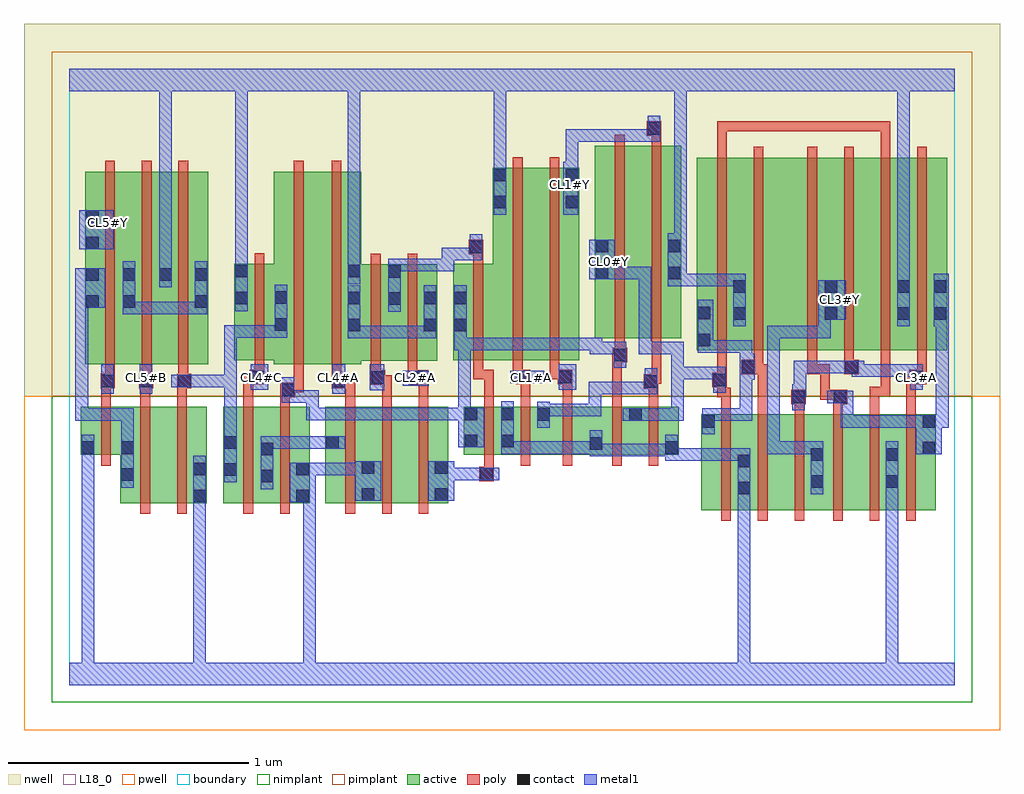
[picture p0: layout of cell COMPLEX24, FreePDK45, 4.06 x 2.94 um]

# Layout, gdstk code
import gdstk
lib = gdstk.Library(unit=1e-6, precision=1e-09)
def R(c, l, rs):  # rectangles x0, y0, x1, y1
    for r in rs: c.add(gdstk.rectangle(r[:2], r[2:], *l))
def A(c, l, x, y, w, h, nx, ny, dx, dy):  # array of equal rectangles
    R(c, l, [(x+i*dx, y+j*dy, x+i*dx+w, y+j*dy+h) for i in range(nx) for j in range(ny)])
active = (1, 0)
pwell = (2, 0)
nwell = (3, 0)
nimplant = (4, 0)
pimplant = (5, 0)
poly = (9, 0)
contact = (10, 0)
metal1 = (11, 0)
L18_0 = (18, 0)
boundary = (235, 0)

complex24 = lib.new_cell('COMPLEX24')
R(complex24, active, [(2.626,0.726,2.834,1.126), (2.774,0.726,2.958,1.126), (2.958,0.726,3.138,1.126), (3.078,0.726,3.27,1.126), (3.27,0.726,3.45,1.126), (3.39,0.726,3.602,1.126), (0.212,0.756,0.392,1.156), (0.212,0.756,0.272,1.156), (0.392,0.756,0.572,1.156), (0.512,0.756,0.572,1.156), (0.64,0.756,0.852,1.156), (0.64,0.756,0.7,1.156), (0.792,0.756,1,1.156), (0.792,0.756,0.852,1.156), (0.94,0.756,1,1.156), (1.064,0.756,1.272,1.156), (1.064,0.756,1.124,1.156), (1.212,0.756,1.396,1.156), (1.212,0.756,1.272,0.934), (1.396,0.756,1.576,1.156), (1.516,0.756,1.576,1.156), (2.626,0.756,2.686,1.126), (2.774,0.756,2.834,0.96), (3.078,0.756,3.138,0.988), (3.39,0.756,3.45,0.988), (3.542,0.756,3.602,1.126), (0.048,0.956,0.108,1.156), (0.048,0.956,0.272,1.156), (1.64,0.956,1.7,1.156), (1.64,0.956,1.852,1.156), (1.792,0.956,1.852,1.156), (1.792,0.956,2,1.156), (1.94,0.956,2,1.156), (1.94,0.956,2.22,1.156), (2.16,0.956,2.384,1.156), (2.16,0.956,2.22,1.034), (2.324,0.956,2.384,1.156), (2.324,0.956,2.532,1.156), (2.472,0.956,2.532,1.156), (0.066,1.334,0.278,2.134), (0.066,1.334,0.126,2.104), (0.218,1.334,0.43,2.134), (0.37,1.334,0.578,2.134), (0.518,1.334,0.578,2.044), (0.85,1.334,1.03,2.134), (1.03,1.334,1.214,2.134), (1.154,1.348,1.382,1.748), (1.154,1.348,1.214,1.75), (1.322,1.348,1.53,1.748), (1.322,1.348,1.382,1.748), (1.47,1.348,1.53,1.644), (0.686,1.35,0.746,1.75), (0.686,1.35,0.91,1.75), (0.85,1.35,0.91,2.134), (1.596,1.35,1.82,1.75), (1.596,1.35,1.656,1.644), (1.76,1.35,1.94,2.15), (1.76,1.35,1.82,2.15), (1.94,1.35,2.12,2.15), (2.06,1.35,2.12,2.15), (2.608,1.392,2.668,2.044), (2.608,1.392,2.816,2.192), (2.756,1.392,2.974,2.192), (2.756,1.392,2.816,2.192), (2.974,1.392,3.196,2.192), (3.136,1.392,3.196,2.044), (3.136,1.392,3.316,2.192), (3.316,1.392,3.496,2.192), (3.436,1.392,3.496,2.044), (3.436,1.392,3.648,2.192), (3.588,1.392,3.648,2.044), (0.218,1.404,0.278,2.104), (2.184,1.442,2.364,2.242), (2.184,1.442,2.244,2.044), (2.364,1.442,2.544,2.242), (2.484,1.442,2.544,2.044), (0.37,1.526,0.43,2.134)])
R(complex24, pwell, [(-0.188,-0.188,3.868,1.2)])
R(complex24, nwell, [(-0.188,1.2,3.868,2.748)])
R(complex24, nimplant, [(-0.072,-0.072,3.752,1.2)])
R(complex24, pimplant, [(-0.072,1.2,3.752,2.632)])
A(complex24, poly, 2.71, 0.682, 0.04, 0.488, 3, 1, 0.152, 0)
A(complex24, poly, 3.174, 0.682, 0.04, 0.488, 3, 1, 0.152, 0)
A(complex24, poly, 1.148, 0.712, 0.04, 0.488, 3, 1, 0.152, 0)
A(complex24, poly, 0.15, 1.254, 0.04, 0.076, 3, 1, 0.152, 0)
A(complex24, poly, 0.15, 1.29, 0.04, 0.888, 3, 1, 0.152, 0)
A(complex24, poly, 3.068, 1.348, 0.04, 0.888, 4, 1, 0.152, 0)
R(complex24, poly, [(0.296,0.712,0.336,1.2), (0.448,0.712,0.488,1.2), (0.724,0.712,0.764,1.2), (0.876,0.712,0.916,1.2), (1.704,0.846,1.764,0.906), (1.724,0.866,1.764,0.952), (0.132,0.912,0.172,1.2), (1.724,0.912,1.764,1.2), (1.876,0.912,1.916,1.2), (2.05,0.912,2.09,1.2), (2.256,0.912,2.296,1.2), (2.408,0.912,2.448,1.2), (2.71,1.13,2.75,1.236), (2.862,1.13,2.902,1.332), (3.014,1.13,3.054,1.206), (3.174,1.13,3.214,1.206), (3.326,1.13,3.366,1.24), (3.478,1.13,3.518,1.29), (0.132,1.16,0.172,1.274), (0.296,1.16,0.336,1.274), (0.448,1.16,0.488,1.274), (0.724,1.16,0.764,1.29), (0.876,1.16,0.916,1.236), (1.148,1.16,1.188,1.274), (1.3,1.16,1.34,1.288), (1.452,1.16,1.492,1.288), (1.724,1.16,1.764,1.31), (1.876,1.16,1.916,1.29), (2.05,1.16,2.09,1.29), (2.256,1.16,2.296,1.382), (2.408,1.16,2.448,1.272), (3,1.166,3.06,1.226), (3.174,1.166,3.234,1.226), (3.12,1.186,3.16,1.226), (3.12,1.186,3.16,1.332), (3.12,1.186,3.214,1.226), (0.876,1.196,0.94,1.256), (2.692,1.196,2.75,1.236), (2.692,1.196,2.732,1.278), (3.326,1.2,3.386,1.24), (3.346,1.2,3.386,1.24), (3.346,1.2,3.412,1.24), (3.372,1.2,3.412,1.388), (0.9,1.216,0.94,1.256), (0.9,1.216,0.974,1.256), (0.934,1.216,0.974,1.33), (2.388,1.232,2.448,1.292), (0.13,1.234,0.19,1.294), (0.132,1.234,0.172,1.274), (0.132,1.234,0.172,1.274), (0.29,1.234,0.35,1.294), (0.296,1.234,0.336,1.274), (0.296,1.234,0.336,1.274), (0.448,1.234,0.508,1.294), (1.09,1.234,1.15,1.294), (1.11,1.234,1.15,1.274), (1.11,1.234,1.188,1.274), (2.672,1.238,2.732,1.298), (1.254,1.248,1.314,1.308), (1.274,1.248,1.314,1.288), (1.274,1.248,1.34,1.288), (1.41,1.248,1.492,1.308), (0.724,1.25,0.79,1.29), (0.75,1.25,0.79,1.29), (0.75,1.25,0.81,1.31), (1.856,1.25,1.916,1.31), (2.03,1.25,2.09,1.31), (3.478,1.25,3.53,1.29), (3.49,1.25,3.53,1.29), (3.49,1.25,3.564,1.31), (2.408,1.252,2.448,1.292), (2.408,1.252,2.46,1.292), (2.42,1.252,2.46,1.438), (0.454,1.254,0.494,1.294), (0.454,1.254,0.494,1.294), (1.09,1.254,1.13,1.33), (2.692,1.258,2.732,1.388), (1.254,1.268,1.294,1.344), (1.406,1.268,1.446,1.344), (1.406,1.268,1.45,1.308), (1.41,1.268,1.45,1.308), (0.77,1.27,0.81,1.346), (1.68,1.27,1.72,1.31), (1.68,1.27,1.72,1.31), (1.68,1.27,1.72,1.346), (1.68,1.27,1.764,1.31), (1.844,1.27,1.896,1.31), (1.844,1.27,1.884,1.346), (1.856,1.27,1.896,1.31), (1.996,1.27,2.036,1.346), (1.996,1.27,2.07,1.31), (2.03,1.27,2.07,1.31), (3.524,1.27,3.564,1.388), (0.934,1.29,0.974,2.178), (1.09,1.29,1.13,2.178), (2.792,1.292,2.884,1.352), (2.844,1.292,2.884,1.332), (2.844,1.292,2.902,1.332), (3.068,1.292,3.108,1.332), (3.068,1.292,3.16,1.332), (3.068,1.292,3.108,1.388), (3.12,1.292,3.16,1.332), (3.22,1.292,3.28,1.352), (1.254,1.304,1.294,1.792), (1.406,1.304,1.446,1.792), (0.77,1.306,0.81,1.794), (1.68,1.306,1.72,1.794), (1.844,1.306,1.884,2.194), (1.996,1.306,2.036,2.194), (2.844,1.312,2.884,1.388), (3.22,1.312,3.26,1.388), (2.256,1.342,2.298,1.382), (2.258,1.342,2.298,1.382), (2.258,1.342,2.318,1.402), (2.692,1.348,2.732,2.236), (2.844,1.348,2.884,2.236), (2.268,1.362,2.308,1.438), (2.268,1.398,2.308,2.286), (2.42,1.398,2.46,2.286), (1.68,1.754,1.72,1.83), (1.66,1.79,1.72,1.85), (2.692,2.196,2.732,2.342), (3.372,2.196,3.412,2.342), (2.42,2.246,2.46,2.322), (2.4,2.282,2.46,2.342), (2.692,2.302,2.732,2.342), (2.692,2.302,2.782,2.342), (2.742,2.302,2.782,2.342), (2.742,2.302,2.934,2.342), (2.894,2.302,2.934,2.342), (2.894,2.302,3.054,2.342), (3.014,2.302,3.054,2.342), (3.014,2.302,3.054,2.342), (3.014,2.302,3.054,2.342), (3.014,2.302,3.214,2.342), (3.174,2.302,3.214,2.342), (3.174,2.302,3.214,2.342), (3.174,2.302,3.214,2.342), (3.174,2.302,3.404,2.342), (3.364,2.302,3.404,2.342), (3.364,2.302,3.412,2.342), (3.372,2.302,3.412,2.342)])
A(complex24, contact, 1.158, 1.47, 0.052, 0.052, 1, 3, 0, 0.112)
A(complex24, contact, 0.07, 1.68, 0.052, 0.052, 3, 1, 0.152, 0)
R(complex24, contact, [(0.516,0.76,0.568,0.812), (0.944,0.76,0.996,0.812), (1.216,0.766,1.268,0.818), (1.52,0.766,1.572,0.818), (2.778,0.792,2.83,0.844), (3.082,0.82,3.134,0.872), (3.394,0.82,3.446,0.872), (0.796,0.842,0.848,0.894), (0.216,0.848,0.268,0.9), (1.708,0.85,1.76,0.902), (0.644,0.87,0.696,0.922), (0.516,0.872,0.568,0.924), (0.944,0.872,0.996,0.924), (1.216,0.878,1.268,0.93), (1.52,0.878,1.572,0.93), (2.778,0.904,2.83,0.956), (3.082,0.932,3.134,0.984), (3.394,0.932,3.446,0.984), (0.796,0.954,0.848,1.006), (3.546,0.958,3.598,1.01), (0.052,0.96,0.104,1.012), (0.216,0.96,0.268,1.012), (2.476,0.96,2.528,1.012), (2.164,0.978,2.216,1.03), (0.644,0.982,0.696,1.034), (1.068,0.982,1.12,1.034), (1.644,0.988,1.696,1.04), (1.796,0.988,1.848,1.04), (2.63,1.07,2.682,1.122), (3.546,1.07,3.598,1.122), (1.944,1.098,1.996,1.15), (2.328,1.098,2.38,1.15), (1.644,1.1,1.696,1.152), (1.796,1.1,1.848,1.152), (3.004,1.17,3.056,1.222), (3.178,1.17,3.23,1.222), (0.884,1.2,0.936,1.252), (2.392,1.236,2.444,1.288), (0.134,1.238,0.186,1.29), (0.294,1.238,0.346,1.29), (0.452,1.238,0.504,1.29), (1.094,1.238,1.146,1.29), (2.676,1.242,2.728,1.294), (1.258,1.252,1.31,1.304), (1.414,1.252,1.466,1.304), (0.754,1.254,0.806,1.306), (1.86,1.254,1.912,1.306), (2.034,1.254,2.086,1.306), (3.494,1.254,3.546,1.306), (2.796,1.296,2.848,1.348), (3.224,1.296,3.276,1.348), (2.262,1.346,2.314,1.398), (2.612,1.408,2.664,1.46), (1.474,1.47,1.526,1.522), (1.6,1.47,1.652,1.522), (0.854,1.472,0.906,1.524), (2.76,1.518,2.812,1.57), (3.14,1.518,3.192,1.57), (3.44,1.518,3.492,1.57), (3.592,1.518,3.644,1.57), (2.612,1.52,2.664,1.572), (0.07,1.568,0.122,1.62), (0.222,1.568,0.274,1.62), (0.522,1.568,0.574,1.62), (1.326,1.58,1.378,1.632), (0.69,1.582,0.742,1.634), (1.474,1.582,1.526,1.634), (1.6,1.582,1.652,1.634), (0.854,1.584,0.906,1.636), (2.76,1.63,2.812,1.682), (3.14,1.63,3.192,1.682), (3.44,1.63,3.492,1.682), (3.592,1.63,3.644,1.682), (0.522,1.68,0.574,1.732), (2.188,1.686,2.24,1.738), (2.488,1.686,2.54,1.738), (1.326,1.692,1.378,1.744), (0.69,1.694,0.742,1.746), (1.664,1.794,1.716,1.846), (2.188,1.798,2.24,1.85), (2.488,1.798,2.54,1.85), (0.07,1.81,0.122,1.862), (0.07,1.922,0.122,1.974), (1.764,1.982,1.816,2.034), (2.064,1.982,2.116,2.034), (1.764,2.094,1.816,2.146), (2.064,2.094,2.116,2.146), (2.404,2.286,2.456,2.338)])
R(complex24, metal1, [(0,0,3.68,0.092), (0.052,0.04,0.104,0.092), (0.052,0.04,0.104,0.092), (0.052,0.04,0.104,0.846), (0.516,0.04,0.568,0.092), (0.516,0.04,0.568,0.092), (0.516,0.04,0.568,0.784), (0.972,0.04,1.024,0.812), (2.778,0.04,2.83,0.092), (2.778,0.04,2.83,0.092), (2.778,0.04,2.83,0.092), (2.778,0.04,2.83,0.092), (2.778,0.04,2.83,0.816), (3.394,0.04,3.446,0.092), (3.394,0.04,3.446,0.092), (3.394,0.04,3.446,0.844), (0.516,0.732,0.568,0.784), (0.516,0.732,0.568,0.784), (0.516,0.732,0.568,0.784), (0.516,0.732,0.568,0.784), (0.516,0.732,0.568,0.784), (0.516,0.732,0.568,0.784), (0.516,0.732,0.568,0.784), (0.516,0.732,0.568,0.784), (0.516,0.732,0.568,0.784), (0.516,0.732,0.568,0.784), (0.516,0.732,0.568,0.952), (0.916,0.76,1.024,0.924), (0.972,0.76,1.024,0.812), (0.972,0.76,1.024,0.812), (0.972,0.76,1.024,0.812), (0.972,0.76,1.024,0.812), (0.972,0.76,1.024,0.812), (0.972,0.76,1.024,0.812), (0.972,0.76,1.024,0.812), (0.972,0.76,1.024,0.812), (0.972,0.76,1.024,0.812), (0.972,0.76,1.024,0.812), (0.972,0.76,1.024,0.812), (0.972,0.76,1.024,0.812), (2.778,0.764,2.83,0.816), (2.778,0.764,2.83,0.816), (2.778,0.764,2.83,0.816), (2.778,0.764,2.83,0.816), (2.778,0.764,2.83,0.816), (2.778,0.764,2.83,0.816), (2.778,0.764,2.83,0.816), (2.778,0.764,2.83,0.816), (2.778,0.764,2.83,0.984), (1.188,0.766,1.296,0.93), (1.492,0.766,1.6,0.93), (3.082,0.792,3.134,1.012), (3.394,0.792,3.446,0.844), (3.394,0.792,3.446,0.844), (3.394,0.792,3.446,0.844), (3.394,0.792,3.446,0.844), (3.394,0.792,3.446,0.844), (3.394,0.792,3.446,0.844), (3.394,0.792,3.446,0.844), (3.394,0.792,3.446,0.844), (3.394,0.792,3.446,0.844), (3.394,0.792,3.446,0.844), (3.394,0.792,3.446,1.012), (0.052,0.794,0.104,0.846), (0.052,0.794,0.104,0.846), (0.052,0.794,0.104,0.846), (0.052,0.794,0.104,0.846), (0.052,0.794,0.104,0.846), (0.052,0.794,0.104,0.846), (0.052,0.794,0.104,0.846), (0.052,0.794,0.104,0.846), (0.052,0.794,0.104,0.846), (0.052,0.794,0.104,0.846), (0.052,0.794,0.104,0.846), (0.052,0.794,0.104,0.846), (0.052,0.794,0.104,0.846), (0.052,0.794,0.104,0.984), (0.796,0.814,0.848,1.034), (0.216,0.82,0.268,1.04), (0.644,0.842,0.696,1.062), (1.548,0.85,1.6,0.902), (1.548,0.85,1.6,0.902), (1.548,0.85,1.732,0.902), (1.68,0.85,1.788,0.902), (0.972,0.872,1.1,0.924), (1.048,0.872,1.1,0.924), (1.048,0.872,1.148,0.924), (1.096,0.872,1.148,0.924), (1.096,0.872,1.24,0.924), (0.052,0.932,0.104,1.04), (2.476,0.932,2.528,0.984), (2.476,0.932,2.528,0.984), (2.476,0.932,2.528,1.04), (2.476,0.932,2.676,0.984), (2.624,0.932,2.676,0.984), (2.624,0.932,2.676,0.984), (2.624,0.932,2.676,0.984), (2.624,0.932,2.83,0.984), (2.778,0.932,2.83,0.984), (2.778,0.932,2.83,0.984), (2.164,0.95,2.216,1.058), (2.164,0.95,2.334,1.002), (2.282,0.95,2.334,1.002), (2.282,0.95,2.334,1.002), (2.282,0.95,2.334,1.002), (2.282,0.95,2.512,1.002), (2.46,0.95,2.512,1.002), (2.46,0.95,2.528,1.002), (3.518,0.958,3.626,1.122), (1.796,0.96,1.848,1.012), (1.796,0.96,1.848,1.012), (1.796,0.96,1.848,1.18), (1.796,0.96,1.996,1.012), (1.944,0.96,1.996,1.012), (1.944,0.96,1.996,1.012), (1.944,0.96,1.996,1.012), (1.944,0.96,2.106,1.012), (2.054,0.96,2.106,1.012), (2.054,0.96,2.216,1.012), (2.9,0.96,2.952,1.012), (2.9,0.96,2.992,1.012), (2.9,0.96,2.952,1.356), (2.94,0.96,2.992,1.012), (2.94,0.96,3.134,1.012), (0.796,0.982,0.958,1.034), (0.906,0.982,0.958,1.034), (0.906,0.982,0.958,1.034), (0.906,0.982,0.958,1.034), (0.906,0.982,1.092,1.034), (1.04,0.982,1.148,1.034), (0.216,0.988,0.268,1.15), (1.616,0.988,1.724,1.152), (0.644,1.01,0.696,1.062), (0.644,1.01,0.696,1.062), (0.644,1.01,0.696,1.29), (2.63,1.042,2.682,1.15), (1.944,1.07,1.996,1.178), (3.206,1.07,3.258,1.122), (3.206,1.07,3.436,1.122), (3.206,1.07,3.258,1.222), (3.384,1.07,3.436,1.122), (3.384,1.07,3.436,1.122), (3.384,1.07,3.436,1.122), (3.384,1.07,3.57,1.122), (3.518,1.07,3.57,1.122), (3.518,1.07,3.57,1.122), (3.574,1.07,3.626,1.122), (3.574,1.07,3.654,1.122), (3.602,1.07,3.654,1.542), (3.602,1.07,3.654,1.122), (3.602,1.07,3.654,1.122), (0.026,1.098,0.078,1.15), (0.026,1.098,0.078,1.15), (0.026,1.098,0.078,1.15), (0.026,1.098,0.268,1.15), (0.026,1.098,0.078,1.62), (0.216,1.098,0.268,1.15), (2.3,1.098,2.408,1.15), (2.356,1.098,2.554,1.15), (2.502,1.098,2.554,1.15), (2.502,1.098,2.554,1.15), (2.502,1.098,2.554,1.15), (2.502,1.098,2.554,1.15), (2.502,1.098,2.554,1.15), (2.502,1.098,2.554,1.322), (2.63,1.098,2.682,1.15), (2.63,1.098,2.682,1.15), (2.63,1.098,2.838,1.15), (2.786,1.098,2.838,1.15), (2.786,1.098,2.838,1.32), (0.984,1.1,1.1,1.152), (0.984,1.1,1.036,1.224), (1.048,1.1,1.1,1.152), (1.048,1.1,1.146,1.152), (1.094,1.1,1.146,1.152), (1.094,1.1,1.268,1.152), (1.216,1.1,1.268,1.152), (1.216,1.1,1.268,1.152), (1.216,1.1,1.268,1.152), (1.216,1.1,1.268,1.152), (1.216,1.1,1.268,1.152), (1.216,1.1,1.38,1.152), (1.328,1.1,1.38,1.152), (1.328,1.1,1.38,1.152), (1.328,1.1,1.38,1.152), (1.328,1.1,1.49,1.152), (1.438,1.1,1.49,1.152), (1.438,1.1,1.668,1.152), (1.616,1.1,1.668,1.152), (1.616,1.1,1.668,1.152), (1.616,1.1,1.668,1.444), (1.944,1.116,1.996,1.168), (1.944,1.116,1.996,1.168), (1.944,1.116,2.21,1.168), (2.158,1.116,2.21,1.168), (2.158,1.116,2.21,1.26), (3.004,1.142,3.056,1.25), (3.15,1.17,3.258,1.222), (3.206,1.17,3.258,1.222), (3.206,1.17,3.258,1.222), (0.884,1.172,0.936,1.28), (0.884,1.172,1.036,1.224), (3.004,1.198,3.062,1.25), (3.01,1.198,3.062,1.25), (3.01,1.198,3.062,1.348), (2.158,1.208,2.21,1.26), (2.158,1.208,2.216,1.26), (2.164,1.208,2.216,1.26), (2.164,1.208,2.334,1.26), (2.282,1.208,2.334,1.26), (2.282,1.208,2.334,1.26), (2.282,1.208,2.334,1.26), (2.282,1.208,2.444,1.26), (2.392,1.208,2.444,1.316), (0.134,1.21,0.186,1.334), (0.294,1.21,0.346,1.334), (1.094,1.21,1.146,1.334), (2.676,1.214,2.728,1.322), (1.248,1.224,1.31,1.334), (0.754,1.226,0.826,1.334), (2.034,1.226,2.106,1.334), (3.494,1.226,3.546,1.334), (0.424,1.238,0.532,1.29), (0.48,1.238,0.696,1.29), (0.644,1.238,0.696,1.29), (0.644,1.238,0.696,1.29), (0.644,1.238,0.696,1.29), (0.644,1.238,0.696,1.496), (1.386,1.244,1.494,1.306), (1.832,1.254,1.974,1.306), (2.786,1.268,2.838,1.32), (2.786,1.268,2.838,1.32), (2.786,1.268,2.838,1.32), (2.786,1.268,2.848,1.32), (2.786,1.268,2.838,1.432), (2.796,1.268,2.848,1.376), (2.502,1.27,2.664,1.322), (2.502,1.27,2.554,1.426), (2.612,1.27,2.664,1.322), (2.612,1.27,2.728,1.322), (3.252,1.282,3.436,1.334), (3.252,1.282,3.304,1.348), (3.384,1.282,3.436,1.334), (3.384,1.282,3.436,1.334), (3.384,1.282,3.436,1.334), (3.384,1.282,3.546,1.334), (3.01,1.296,3.062,1.348), (3.01,1.296,3.248,1.348), (3.196,1.296,3.304,1.348), (3.252,1.296,3.304,1.348), (2.9,1.304,2.952,1.356), (2.9,1.304,2.952,1.492), (2.262,1.318,2.314,1.426), (2.164,1.374,2.314,1.426), (2.164,1.374,2.216,1.444), (2.366,1.374,2.418,1.426), (2.366,1.374,2.554,1.426), (2.366,1.374,2.418,1.738), (2.502,1.374,2.554,1.426), (2.502,1.374,2.554,1.426), (2.612,1.38,2.676,1.6), (2.624,1.38,2.676,1.432), (2.624,1.38,2.676,1.432), (2.624,1.38,2.838,1.432), (2.786,1.38,2.838,1.432), (1.6,1.392,1.668,1.444), (1.6,1.392,1.652,1.494), (1.616,1.392,1.71,1.444), (1.658,1.392,1.71,1.444), (1.658,1.392,1.848,1.444), (1.796,1.392,1.848,1.444), (1.796,1.392,1.848,1.444), (1.796,1.392,1.848,1.444), (1.796,1.392,1.958,1.444), (1.906,1.392,1.958,1.444), (1.906,1.392,1.958,1.444), (1.906,1.392,1.958,1.444), (1.906,1.392,2.204,1.444), (2.152,1.392,2.204,1.444), (2.152,1.392,2.216,1.444), (2.9,1.44,2.952,1.492), (2.9,1.44,2.952,1.492), (2.9,1.44,2.952,1.492), (2.9,1.44,2.958,1.492), (2.906,1.44,2.958,1.492), (2.906,1.44,3.164,1.492), (3.112,1.44,3.164,1.492), (3.112,1.44,3.164,1.57), (1.158,1.442,1.21,1.662), (1.158,1.442,1.258,1.494), (1.206,1.442,1.258,1.494), (1.206,1.442,1.378,1.494), (1.326,1.442,1.378,1.494), (1.326,1.442,1.378,1.494), (1.326,1.442,1.378,1.494), (1.326,1.442,1.526,1.494), (1.474,1.442,1.526,1.662), (1.6,1.442,1.652,1.662), (0.644,1.444,0.696,1.496), (0.644,1.444,0.696,1.496), (0.644,1.444,0.696,1.496), (0.644,1.444,0.826,1.496), (0.774,1.444,0.826,1.496), (0.774,1.444,0.906,1.496), (0.854,1.444,0.906,1.664), (2.76,1.49,2.812,1.71), (3.44,1.49,3.492,1.71), (3.592,1.49,3.654,1.71), (3.112,1.518,3.164,1.57), (3.112,1.518,3.164,1.57), (3.112,1.518,3.164,1.57), (3.112,1.518,3.164,1.57), (3.112,1.518,3.226,1.682), (0.222,1.54,0.274,1.592), (0.222,1.54,0.274,1.592), (0.222,1.54,0.274,1.76), (0.222,1.54,0.458,1.592), (0.406,1.54,0.458,1.592), (0.406,1.54,0.574,1.592), (0.522,1.54,0.574,1.592), (0.522,1.54,0.574,1.592), (0.522,1.54,0.574,1.76), (1.326,1.552,1.378,1.772), (0.69,1.554,0.742,1.774), (0.026,1.568,0.078,1.62), (0.026,1.568,0.078,1.62), (0.026,1.568,0.15,1.732), (0.374,1.652,0.426,1.76), (2.488,1.658,2.566,1.878), (2.514,1.658,2.566,1.71), (2.514,1.658,2.566,1.71), (2.514,1.658,2.676,1.71), (2.624,1.658,2.676,1.71), (2.624,1.658,2.676,1.71), (2.624,1.658,2.676,1.71), (2.624,1.658,2.812,1.71), (3.44,1.658,3.492,2.52), (1.158,1.666,1.21,1.774), (2.16,1.686,2.268,1.85), (2.172,1.686,2.224,1.738), (2.172,1.686,2.224,1.738), (2.172,1.686,2.32,1.738), (2.268,1.686,2.32,1.738), (2.268,1.686,2.418,1.738), (2.366,1.686,2.418,1.738), (0.374,1.708,0.426,1.76), (0.374,1.708,0.426,1.76), (0.374,1.708,0.426,2.52), (1.326,1.72,1.49,1.772), (1.438,1.72,1.49,1.772), (1.438,1.72,1.49,1.772), (1.438,1.72,1.49,1.772), (1.438,1.72,1.6,1.772), (1.548,1.72,1.6,1.772), (1.548,1.72,1.6,1.818), (0.69,1.722,0.742,1.774), (0.69,1.722,0.742,1.774), (0.69,1.722,0.742,2.52), (1.158,1.722,1.21,2.52), (1.548,1.766,1.6,1.818), (1.548,1.766,1.716,1.818), (1.664,1.766,1.716,1.874), (0.042,1.81,0.186,1.974), (2.514,1.826,2.566,2.52), (1.764,1.954,1.816,2.174), (2.054,1.954,2.116,2.174), (1.764,2.122,1.816,2.174), (1.764,2.122,1.816,2.174), (1.764,2.122,1.816,2.52), (2.064,2.122,2.116,2.174), (2.064,2.122,2.116,2.174), (2.064,2.122,2.116,2.31), (2.064,2.258,2.116,2.31), (2.064,2.258,2.216,2.31), (2.164,2.258,2.216,2.31), (2.164,2.258,2.334,2.31), (2.282,2.258,2.334,2.31), (2.282,2.258,2.334,2.31), (2.282,2.258,2.334,2.31), (2.282,2.258,2.456,2.31), (2.404,2.258,2.456,2.366), (0,2.468,3.68,2.56), (0.374,2.468,0.426,2.52), (0.374,2.468,0.426,2.52), (0.374,2.468,0.426,2.52), (0.374,2.468,0.426,2.52), (0.374,2.468,0.426,2.52), (0.374,2.468,0.426,2.52), (0.69,2.468,0.742,2.52), (0.69,2.468,0.742,2.52), (0.69,2.468,0.742,2.52), (0.69,2.468,0.742,2.52), (0.69,2.468,0.742,2.52), (0.69,2.468,0.742,2.52), (0.69,2.468,0.742,2.52), (0.69,2.468,0.742,2.52), (0.69,2.468,0.742,2.52), (0.69,2.468,0.742,2.52), (0.69,2.468,0.742,2.52), (0.69,2.468,0.742,2.52), (0.69,2.468,0.742,2.52), (0.69,2.468,0.742,2.52), (1.158,2.468,1.21,2.52), (1.158,2.468,1.21,2.52), (1.158,2.468,1.21,2.52), (1.158,2.468,1.21,2.52), (1.158,2.468,1.21,2.52), (1.158,2.468,1.21,2.52), (1.158,2.468,1.21,2.52), (1.158,2.468,1.21,2.52), (1.764,2.468,1.816,2.52), (1.764,2.468,1.816,2.52), (1.764,2.468,1.816,2.52), (1.764,2.468,1.816,2.52), (1.764,2.468,1.816,2.52), (1.764,2.468,1.816,2.52), (2.514,2.468,2.566,2.52), (2.514,2.468,2.566,2.52), (2.514,2.468,2.566,2.52), (2.514,2.468,2.566,2.52), (2.514,2.468,2.566,2.52), (2.514,2.468,2.566,2.52), (2.514,2.468,2.566,2.52), (2.514,2.468,2.566,2.52), (3.44,2.468,3.492,2.52), (3.44,2.468,3.492,2.52), (3.44,2.468,3.492,2.52), (3.44,2.468,3.492,2.52), (3.44,2.468,3.492,2.52), (3.44,2.468,3.492,2.52), (3.44,2.468,3.492,2.52), (3.44,2.468,3.492,2.52)])
A(complex24, L18_0, 1.094, 1.254, 0.052, 0.052, 3, 1, 0.16, 0)
R(complex24, L18_0, [(0,0,3.68,0.092), (0.052,0.04,0.104,0.092), (0.052,0.04,0.104,0.092), (0.052,0.04,0.104,0.846), (0.516,0.04,0.568,0.092), (0.516,0.04,0.568,0.092), (0.516,0.04,0.568,0.784), (0.972,0.04,1.024,0.812), (2.778,0.04,2.83,0.092), (2.778,0.04,2.83,0.092), (2.778,0.04,2.83,0.092), (2.778,0.04,2.83,0.092), (2.778,0.04,2.83,0.816), (3.394,0.04,3.446,0.092), (3.394,0.04,3.446,0.092), (3.394,0.04,3.446,0.844), (0.516,0.732,0.568,0.784), (0.516,0.732,0.568,0.784), (0.516,0.732,0.568,0.784), (0.516,0.732,0.568,0.784), (0.516,0.732,0.568,0.784), (0.516,0.732,0.568,0.784), (0.516,0.732,0.568,0.784), (0.516,0.732,0.568,0.784), (0.516,0.732,0.568,0.784), (0.516,0.732,0.568,0.784), (0.516,0.732,0.568,0.952), (0.916,0.76,1.024,0.924), (0.972,0.76,1.024,0.812), (0.972,0.76,1.024,0.812), (0.972,0.76,1.024,0.812), (0.972,0.76,1.024,0.812), (0.972,0.76,1.024,0.812), (0.972,0.76,1.024,0.812), (0.972,0.76,1.024,0.812), (0.972,0.76,1.024,0.812), (0.972,0.76,1.024,0.812), (0.972,0.76,1.024,0.812), (0.972,0.76,1.024,0.812), (0.972,0.76,1.024,0.812), (2.778,0.764,2.83,0.816), (2.778,0.764,2.83,0.816), (2.778,0.764,2.83,0.816), (2.778,0.764,2.83,0.816), (2.778,0.764,2.83,0.816), (2.778,0.764,2.83,0.816), (2.778,0.764,2.83,0.816), (2.778,0.764,2.83,0.816), (2.778,0.764,2.83,0.984), (1.188,0.766,1.296,0.93), (3.082,0.792,3.134,1.012), (3.394,0.792,3.446,0.844), (3.394,0.792,3.446,0.844), (3.394,0.792,3.446,0.844), (3.394,0.792,3.446,0.844), (3.394,0.792,3.446,0.844), (3.394,0.792,3.446,0.844), (3.394,0.792,3.446,0.844), (3.394,0.792,3.446,0.844), (3.394,0.792,3.446,0.844), (3.394,0.792,3.446,0.844), (3.394,0.792,3.446,1.012), (0.052,0.794,0.104,0.846), (0.052,0.794,0.104,0.846), (0.052,0.794,0.104,0.846), (0.052,0.794,0.104,0.846), (0.052,0.794,0.104,0.846), (0.052,0.794,0.104,0.846), (0.052,0.794,0.104,0.846), (0.052,0.794,0.104,0.846), (0.052,0.794,0.104,0.846), (0.052,0.794,0.104,0.846), (0.052,0.794,0.104,0.846), (0.052,0.794,0.104,0.846), (0.052,0.794,0.104,0.846), (0.052,0.794,0.104,0.984), (0.216,0.82,0.268,1.04), (0.972,0.872,1.1,0.924), (1.048,0.872,1.1,0.924), (1.048,0.872,1.148,0.924), (1.096,0.872,1.148,0.924), (1.096,0.872,1.24,0.924), (0.052,0.932,0.104,1.04), (2.476,0.932,2.528,0.984), (2.476,0.932,2.528,0.984), (2.476,0.932,2.528,1.04), (2.476,0.932,2.676,0.984), (2.624,0.932,2.676,0.984), (2.624,0.932,2.676,0.984), (2.624,0.932,2.676,0.984), (2.624,0.932,2.83,0.984), (2.778,0.932,2.83,0.984), (2.778,0.932,2.83,0.984), (2.164,0.95,2.216,1.058), (2.164,0.95,2.334,1.002), (2.282,0.95,2.334,1.002), (2.282,0.95,2.334,1.002), (2.282,0.95,2.334,1.002), (2.282,0.95,2.512,1.002), (2.46,0.95,2.512,1.002), (2.46,0.95,2.528,1.002), (1.796,0.96,1.848,1.012), (1.796,0.96,1.848,1.012), (1.796,0.96,1.848,1.18), (1.796,0.96,1.996,1.012), (1.944,0.96,1.996,1.012), (1.944,0.96,1.996,1.012), (1.944,0.96,1.996,1.012), (1.944,0.96,2.106,1.012), (2.054,0.96,2.106,1.012), (2.054,0.96,2.216,1.012), (2.9,0.96,2.952,1.012), (2.9,0.96,2.952,1.356), (2.9,0.96,2.992,1.012), (2.94,0.96,2.992,1.012), (2.94,0.96,3.134,1.012), (0.216,0.988,0.268,1.15), (1.944,1.07,1.996,1.178), (0.026,1.098,0.078,1.15), (0.026,1.098,0.078,1.15), (0.026,1.098,0.078,1.15), (0.026,1.098,0.078,1.62), (0.026,1.098,0.268,1.15), (0.216,1.098,0.268,1.15), (2.3,1.098,2.408,1.15), (2.356,1.098,2.554,1.15), (2.502,1.098,2.554,1.15), (2.502,1.098,2.554,1.15), (2.502,1.098,2.554,1.15), (2.502,1.098,2.554,1.15), (2.502,1.098,2.554,1.15), (2.502,1.098,2.554,1.322), (1.944,1.116,1.996,1.168), (1.944,1.116,1.996,1.168), (1.944,1.116,2.21,1.168), (2.158,1.116,2.21,1.168), (2.158,1.116,2.21,1.26), (3.004,1.142,3.056,1.25), (3.004,1.198,3.062,1.25), (3.01,1.198,3.062,1.25), (3.01,1.198,3.062,1.348), (2.158,1.208,2.21,1.26), (2.158,1.208,2.216,1.26), (2.164,1.208,2.216,1.26), (2.164,1.208,2.334,1.26), (2.282,1.208,2.334,1.26), (2.282,1.208,2.334,1.26), (2.282,1.208,2.334,1.26), (2.282,1.208,2.444,1.26), (2.392,1.208,2.444,1.316), (0.134,1.21,0.186,1.334), (0.294,1.21,0.346,1.334), (1.094,1.21,1.146,1.334), (2.676,1.214,2.728,1.322), (1.248,1.224,1.31,1.334), (0.754,1.226,0.826,1.334), (2.034,1.226,2.106,1.334), (3.494,1.226,3.546,1.334), (1.386,1.244,1.494,1.306), (0.134,1.254,0.186,1.306), (0.294,1.254,0.346,1.306), (0.774,1.254,0.826,1.306), (1.832,1.254,1.974,1.306), (1.894,1.254,1.946,1.306), (2.054,1.254,2.106,1.306), (3.494,1.254,3.546,1.306), (2.502,1.27,2.664,1.322), (2.502,1.27,2.554,1.426), (2.612,1.27,2.664,1.322), (2.612,1.27,2.728,1.322), (3.252,1.282,3.304,1.348), (3.252,1.282,3.436,1.334), (3.384,1.282,3.436,1.334), (3.384,1.282,3.436,1.334), (3.384,1.282,3.436,1.334), (3.384,1.282,3.546,1.334), (3.01,1.296,3.062,1.348), (3.01,1.296,3.248,1.348), (3.196,1.296,3.304,1.348), (3.252,1.296,3.304,1.348), (2.9,1.304,2.952,1.356), (2.9,1.304,2.952,1.492), (2.366,1.374,2.418,1.426), (2.366,1.374,2.418,1.738), (2.366,1.374,2.554,1.426), (2.502,1.374,2.554,1.426), (2.502,1.374,2.554,1.426), (2.9,1.44,2.952,1.492), (2.9,1.44,2.952,1.492), (2.9,1.44,2.952,1.492), (2.9,1.44,2.958,1.492), (2.906,1.44,2.958,1.492), (2.906,1.44,3.164,1.492), (3.112,1.44,3.164,1.492), (3.112,1.44,3.164,1.57), (1.158,1.442,1.21,1.662), (1.158,1.442,1.258,1.494), (1.206,1.442,1.258,1.494), (1.206,1.442,1.378,1.494), (1.326,1.442,1.378,1.494), (1.326,1.442,1.378,1.494), (1.326,1.442,1.378,1.494), (1.326,1.442,1.526,1.494), (1.474,1.442,1.526,1.662), (2.76,1.49,2.812,1.71), (3.44,1.49,3.492,1.71), (3.112,1.518,3.164,1.57), (3.112,1.518,3.164,1.57), (3.112,1.518,3.164,1.57), (3.112,1.518,3.164,1.57), (3.112,1.518,3.226,1.682), (0.69,1.554,0.742,1.774), (0.026,1.568,0.078,1.62), (0.026,1.568,0.078,1.62), (0.026,1.568,0.15,1.732), (3.174,1.574,3.226,1.626), (0.374,1.652,0.426,1.76), (2.488,1.658,2.566,1.878), (2.514,1.658,2.566,1.71), (2.514,1.658,2.566,1.71), (2.514,1.658,2.676,1.71), (2.624,1.658,2.676,1.71), (2.624,1.658,2.676,1.71), (2.624,1.658,2.676,1.71), (2.624,1.658,2.812,1.71), (3.44,1.658,3.492,2.52), (1.158,1.666,1.21,1.774), (2.16,1.686,2.268,1.85), (2.172,1.686,2.224,1.738), (2.172,1.686,2.224,1.738), (2.172,1.686,2.32,1.738), (2.268,1.686,2.32,1.738), (2.268,1.686,2.418,1.738), (2.366,1.686,2.418,1.738), (0.374,1.708,0.426,1.76), (0.374,1.708,0.426,1.76), (0.374,1.708,0.426,2.52), (0.69,1.722,0.742,1.774), (0.69,1.722,0.742,1.774), (0.69,1.722,0.742,2.52), (1.158,1.722,1.21,2.52), (2.214,1.734,2.266,1.786), (0.042,1.81,0.186,1.974), (2.514,1.826,2.566,2.52), (0.134,1.894,0.186,1.946), (1.764,1.954,1.816,2.174), (2.054,1.954,2.116,2.174), (2.054,2.054,2.106,2.106), (1.764,2.122,1.816,2.174), (1.764,2.122,1.816,2.174), (1.764,2.122,1.816,2.52), (2.064,2.122,2.116,2.174), (2.064,2.122,2.116,2.174), (2.064,2.122,2.116,2.31), (2.064,2.258,2.116,2.31), (2.064,2.258,2.216,2.31), (2.164,2.258,2.216,2.31), (2.164,2.258,2.334,2.31), (2.282,2.258,2.334,2.31), (2.282,2.258,2.334,2.31), (2.282,2.258,2.334,2.31), (2.282,2.258,2.456,2.31), (2.404,2.258,2.456,2.366), (0,2.468,3.68,2.56), (0.374,2.468,0.426,2.52), (0.374,2.468,0.426,2.52), (0.374,2.468,0.426,2.52), (0.374,2.468,0.426,2.52), (0.374,2.468,0.426,2.52), (0.374,2.468,0.426,2.52), (0.69,2.468,0.742,2.52), (0.69,2.468,0.742,2.52), (0.69,2.468,0.742,2.52), (0.69,2.468,0.742,2.52), (0.69,2.468,0.742,2.52), (0.69,2.468,0.742,2.52), (0.69,2.468,0.742,2.52), (0.69,2.468,0.742,2.52), (0.69,2.468,0.742,2.52), (0.69,2.468,0.742,2.52), (0.69,2.468,0.742,2.52), (0.69,2.468,0.742,2.52), (0.69,2.468,0.742,2.52), (0.69,2.468,0.742,2.52), (1.158,2.468,1.21,2.52), (1.158,2.468,1.21,2.52), (1.158,2.468,1.21,2.52), (1.158,2.468,1.21,2.52), (1.158,2.468,1.21,2.52), (1.158,2.468,1.21,2.52), (1.158,2.468,1.21,2.52), (1.158,2.468,1.21,2.52), (1.764,2.468,1.816,2.52), (1.764,2.468,1.816,2.52), (1.764,2.468,1.816,2.52), (1.764,2.468,1.816,2.52), (1.764,2.468,1.816,2.52), (1.764,2.468,1.816,2.52), (2.514,2.468,2.566,2.52), (2.514,2.468,2.566,2.52), (2.514,2.468,2.566,2.52), (2.514,2.468,2.566,2.52), (2.514,2.468,2.566,2.52), (2.514,2.468,2.566,2.52), (2.514,2.468,2.566,2.52), (2.514,2.468,2.566,2.52), (3.44,2.468,3.492,2.52), (3.44,2.468,3.492,2.52), (3.44,2.468,3.492,2.52), (3.44,2.468,3.492,2.52), (3.44,2.468,3.492,2.52), (3.44,2.468,3.492,2.52), (3.44,2.468,3.492,2.52), (3.44,2.468,3.492,2.52)])
R(complex24, boundary, [(0,0,3.68,2.56)])
complex24.add(gdstk.Label('CL0#Y', (2.24,1.76), layer=11, texttype=0))
complex24.add(gdstk.Label('CL1#A', (1.92,1.28), layer=11, texttype=0))
complex24.add(gdstk.Label('CL1#B', (2.08,1.28), layer=11, texttype=0))
complex24.add(gdstk.Label('CL1#Y', (2.08,2.08), layer=11, texttype=0))
complex24.add(gdstk.Label('CL2#A', (1.44,1.28), layer=11, texttype=0))
complex24.add(gdstk.Label('CL2#B', (1.28,1.28), layer=11, texttype=0))
complex24.add(gdstk.Label('CL3#A', (3.52,1.28), layer=11, texttype=0))
complex24.add(gdstk.Label('CL3#Y', (3.2,1.6), layer=11, texttype=0))
complex24.add(gdstk.Label('CL4#A', (1.12,1.28), layer=11, texttype=0))
complex24.add(gdstk.Label('CL4#C', (0.8,1.28), layer=11, texttype=0))
complex24.add(gdstk.Label('CL5#B', (0.32,1.28), layer=11, texttype=0))
complex24.add(gdstk.Label('CL5#C', (0.16,1.28), layer=11, texttype=0))
complex24.add(gdstk.Label('CL5#Y', (0.16,1.92), layer=11, texttype=0))

lib.write_gds('COMPLEX24.gds')
